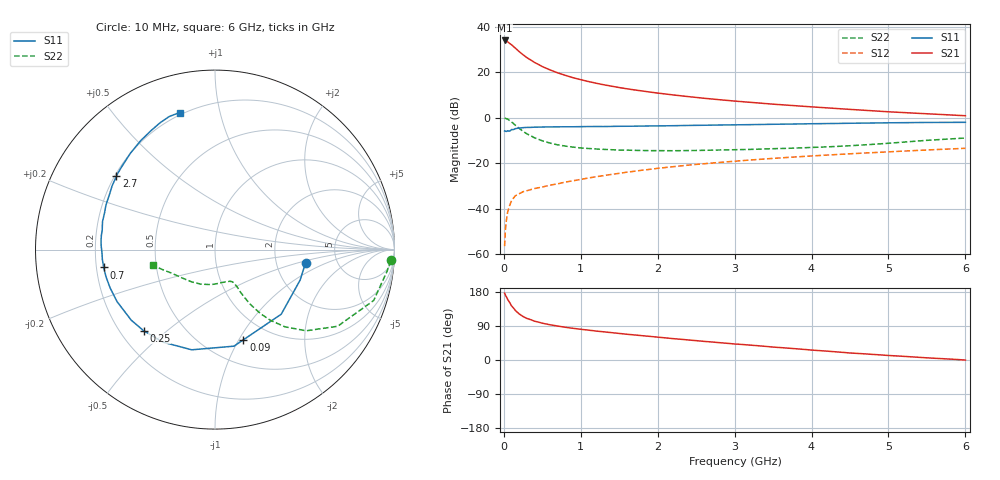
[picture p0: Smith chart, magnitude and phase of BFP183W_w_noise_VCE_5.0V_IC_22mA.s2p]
! Infineon Technologies  Discrete & RF Semiconductors
! BFP183W
! VCE =  5.0 V,  IC =  22 mA
! Common Emitter S-Parameters:  Jan 2017
# GHz  S  MA  R  50
!  f  S11  S21  S12  S22
! GHz  MAG  ANG  MAG  ANG  MAG  ANG  MAG  ANG
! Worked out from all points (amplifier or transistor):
!   77 points, 10 MHz to 6 GHz, reference 50 ohm
!   highest |S21| = 33.9 dB at 10 MHz (marker M1)
!   |S21| within 3 dB of that: start of sweep to 136.8 MHz
!   unconditionally stable (mu >= 1): 1.145 GHz to 3.565 GHz
!   at 130 MHz: K = 0.25, MSG = 33.2 dB, |S12| = -35.2 dB
!   at 2.2 GHz: K = 1.06, MAG = 14.3 dB, |S12| = -21.6 dB
!   at 6 GHz: K = 0.87, MSG = 7.2 dB, |S12| = -13.5 dB
!   lowest NFmin = 1.22 dB at 450 MHz
!   S11 on the Smith chart (normalised r, x): 10 MHz: 2.95, -0.59; 90 MHz: 0.75, -1.05; 250 MHz: 0.30, -0.42; 700 MHz: 0.23, -0.08; 2.7 GHz: 0.21, +0.32; 6 GHz: 0.19, +0.76
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0.01  0.5097 -8.4  49.61 176.3  0.0015 93.5  0.9812 -3.5
0.02  0.5038 -19.7  48.87 171.5  0.0034 92.8  0.9662 -7.2
0.05  0.5155 -44.3  46.36 159.7  0.0085 73.8  0.9282 -17.8
0.09  0.5268 -72.5  40.98 146.6  0.0136 64.0  0.8259 -28.8
0.1  0.5483 -78.9  40.02 142.9  0.0149 62.6  0.8059 -32.0
0.15  0.5732 -103.1  33.59 130.6  0.0192 53.7  0.6801 -41.7
0.2  0.5914 -119.3  28.17 121.5  0.0213 50.7  0.5792 -47.9
0.25  0.6021 -131.4  24.04 114.7  0.0236 46.9  0.5003 -51.9
0.3  0.6102 -139.9  20.75 109.7  0.0248 46.1  0.44 -54.5
0.4  0.6178 -152.0  16.27 102.3  0.0277 46.6  0.3594 -57.3
0.5  0.6222 -160.0  13.24 97.1  0.0299 46.8  0.3096 -58.4
0.6  0.6259 -166.1  11.19 93.0  0.0328 48.7  0.276 -59.1
0.7  0.628 -170.9  9.641 89.6  0.0351 50.6  0.2523 -59.2
0.9  0.6299 -178.5  7.539 83.6  0.041 54.3  0.2251 -60.0
1.1  0.637 175.5  6.214 78.8  0.0472 56.1  0.21 -60.8
1.5  0.6459 165.9  4.58 70.1  0.0598 58.4  0.1942 -65.2
2.1  0.6613 153.6  3.307 58.4  0.0802 58.7  0.1878 -76.7
2.7  0.6842 143.4  2.572 47.6  0.1003 57.1  0.1928 -91.9
3.1  0.698 137.0  2.241 40.9  0.1135 55.2  0.1987 -102.4
4.1  0.7373 123.2  1.681 24.8  0.1472 50.1  0.2243 -128.3
5.1  0.7725 112.5  1.317 10.8  0.1806 44.2  0.2817 -153.1
6  0.7888 104.5  1.101 -0.1  0.2121 38.3  0.3566 -165.9
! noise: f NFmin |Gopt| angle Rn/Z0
0.45  1.22  0.22  174  0.1
0.9  1.25  0.26  177  0.09
1.9  1.73  0.41  -161  0.09
2.4  1.96  0.46  -155  0.12
